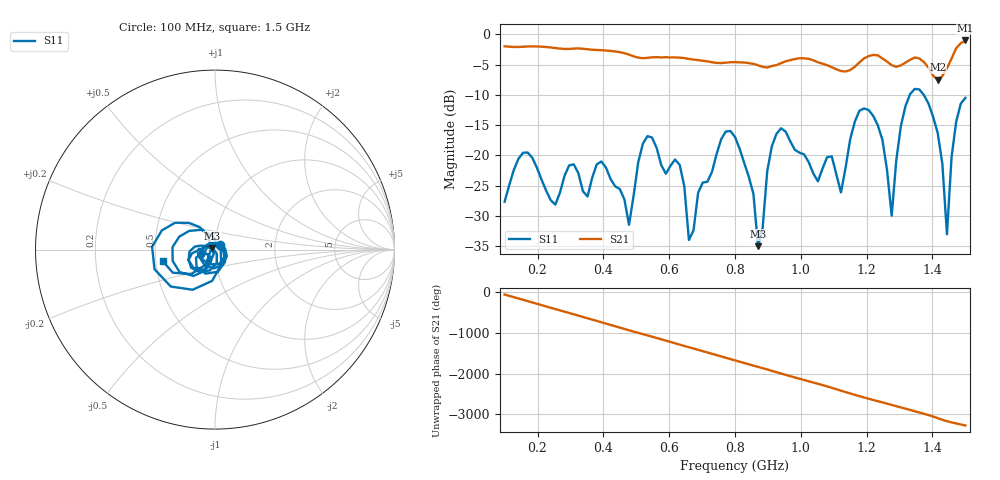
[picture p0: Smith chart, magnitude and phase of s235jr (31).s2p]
! NanoVNA-App
! Date: 2025-09-26 09:45:02
! Start: 100MHz Stop: 1,5GHz Points: 101
! S-Parameter data: F S11 S21 S12 S22
# Hz S RI R 50
!  Frequency  S11_Real  S11_Imag  S21_Real  S21_Imag  S12_Real  S12_Imag  S22_Real  S22_Imag
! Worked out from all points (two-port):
!   101 points, 100 MHz to 1.5 GHz, reference 50 ohm
!   highest |S21| = -0.99 dB at 1.5 GHz (marker M1); lowest = -7.5 dB at 1.416 GHz (marker M2)
!   |S21| within 3 dB of the highest: start of sweep to 654.4 MHz; 1.191 GHz to 1.249 GHz (57.26 MHz wide, 4.69 % of centre) (the widest 2 of 5)
!   lowest |S11| = -35.0 dB at 870 MHz (marker M3), VSWR 1.04, Z = 48.5 + j0.943 ohm
!   |S11| at or under -10 dB: start of sweep to 1.331 GHz; 1.374 GHz to end of sweep
!   S12 and S22 are empty: the file has one direction only
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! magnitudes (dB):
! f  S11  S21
! 100 MHz  -27.7  -2.0
! 156 MHz  -19.6  -2.0
! 338 MHz  -25.9  -2.4
! 394 MHz  -21.0  -2.6
! 478 MHz  -31.5  -3.3
! 520 MHz  -18.1  -3.9
! 576 MHz  -21.6  -3.8
! 632 MHz  -21.6  -3.8
! 660 MHz  -34.0  -4.1
! 800 MHz  -17.0  -4.6
! 870 MHz  -35.0  -5.1
! 926 MHz  -16.5  -5.1
! 1.038 GHz  -23.0  -4.3
! 1.122 GHz  -26.1  -6.0
! 1.206 GHz  -12.5  -3.6
! 1.248 GHz  -17.5  -4.0
! 1.276 GHz  -30.0  -5.1
! 1.332 GHz  -9.9  -4.2
! 1.416 GHz  -16.3  -7.5
! 1.444 GHz  -33.1  -5.6
! 1.472 GHz  -14.4  -2.3
! 1.5 GHz  -10.5  -1.0
